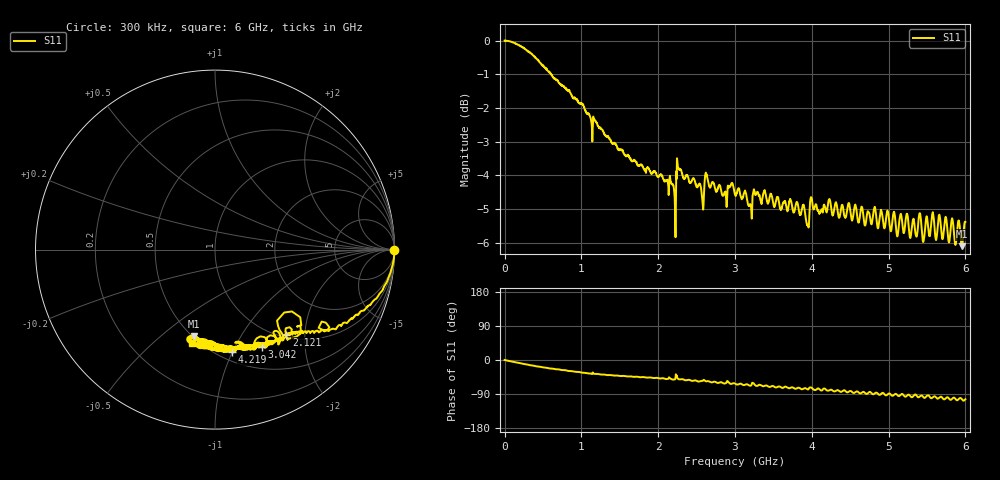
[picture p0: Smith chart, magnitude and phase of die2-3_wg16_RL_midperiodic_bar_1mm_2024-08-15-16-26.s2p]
!Keysight Technologies,P9374A,MY57304198,A.17.20.09
!Date: Thursday, August 15, 2024 16:26:33
!Correction: S11(C  1-Port  )
!S21(C  1-Port  )
!S12(Off)
!S22(Off)
!S2P File: Measurements: S11, S21, S12, S22:
# Hz S  dB  R 50
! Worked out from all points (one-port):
!   6000 points, 300 kHz to 6 GHz, reference 50 ohm
!   lowest |S11| = -6.1 dB at 5.954 GHz (marker M1), VSWR 2.96, Z = 25.5 - j32.6 ohm
!   |S11| at or under -10 dB: nowhere
!   S11 on the Smith chart (normalised r, x): 300 kHz: open; 2.121 GHz: 1.04, -1.62; 3.042 GHz: 0.76, -1.29; 4.219 GHz: 0.58, -0.99; 6 GHz: 0.46, -0.68
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300000  -0.00 -0.0  -200.00 45.0  -200.00 45.0  -200.00 45.0
4.193489e8  -0.55 -16.9  -200.00 45.0  -200.00 45.0  -200.00 45.0
1.000417e9  -1.88 -33.2  -200.00 45.0  -200.00 45.0  -200.00 45.0
1.413465e9  -3.06 -40.9  -200.00 45.0  -200.00 45.0  -200.00 45.0
2.000533e9  -4.05 -48.1  -200.00 45.0  -200.00 45.0  -200.00 45.0
2.120547e9  -4.15 -50.1  -200.00 45.0  -200.00 45.0  -200.00 45.0
2.197556e9  -4.31 -51.7  -200.00 45.0  -200.00 45.0  -200.00 45.0
2.259564e9  -3.78 -49.8  -200.00 45.0  -200.00 45.0  -200.00 45.0
2.522594e9  -4.30 -56.8  -200.00 45.0  -200.00 45.0  -200.00 45.0
2.577601e9  -4.80 -55.1  -200.00 45.0  -200.00 45.0  -200.00 45.0
2.623606e9  -3.95 -56.3  -200.00 45.0  -200.00 45.0  -200.00 45.0
3.00065e9  -4.57 -62.2  -200.00 45.0  -200.00 45.0  -200.00 45.0
3.041655e9  -4.40 -64.5  -200.00 45.0  -200.00 45.0  -200.00 45.0
3.188672e9  -4.89 -67.5  -200.00 45.0  -200.00 45.0  -200.00 45.0
3.246679e9  -4.42 -62.6  -200.00 45.0  -200.00 45.0  -200.00 45.0
3.869751e9  -5.03 -77.2  -200.00 45.0  -200.00 45.0  -200.00 45.0
3.94276e9  -5.48 -77.5  -200.00 45.0  -200.00 45.0  -200.00 45.0
4.000767e9  -4.70 -73.6  -200.00 45.0  -200.00 45.0  -200.00 45.0
4.218792e9  -4.75 -80.8  -200.00 45.0  -200.00 45.0  -200.00 45.0
5.000883e9  -5.22 -88.7  -200.00 45.0  -200.00 45.0  -200.00 45.0
5.953995e9  -6.11 -103.6  -200.00 45.0  -200.00 45.0  -200.00 45.0
6e9  -5.39 -103.6  -200.00 45.0  -200.00 45.0  -200.00 45.0
